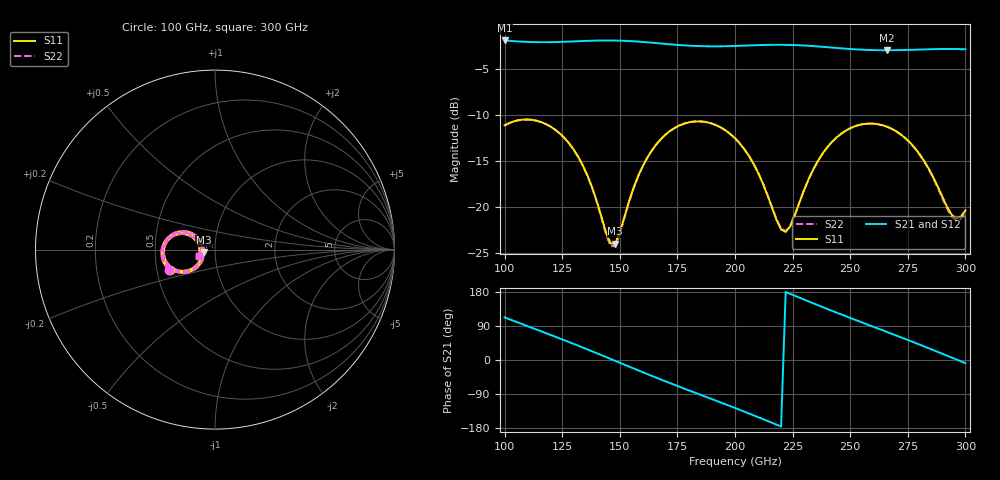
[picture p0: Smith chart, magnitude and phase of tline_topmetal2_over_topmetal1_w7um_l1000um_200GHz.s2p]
#  GHZ S DB R 50
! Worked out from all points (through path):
!   101 points, 100 GHz to 300 GHz, reference 50 ohm
!   highest |S21| = -1.85 dB at 100 GHz (marker M1); lowest = -2.9 dB at 266 GHz (marker M2)
!   group delay of S21, straight-line fit = 6.69 ps
!   lowest |S11| = -24.0 dB at 148 GHz (marker M3), VSWR 1.14, Z = 44.2 - j1.33 ohm
!   |S11| at or under -10 dB: start of sweep to end of sweep
!   |S22| runs from -24.3 to -10.5 dB; largest |S21 - S12| = 8.8e-14
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100  -11.10 -155.4  -1.85 112.5  -1.85 112.5  -11.10 -155.5
116  -10.75 173.9  -2.04 75.4  -2.04 75.4  -10.76 173.6
124  -11.99 159.4  -2.01 56.7  -2.01 56.7  -12.00 159.1
134  -15.48 145.3  -1.91 32.7  -1.91 32.7  -15.51 144.7
146  -23.97 174.9  -1.85 2.8  -1.85 2.8  -24.25 174.6
148  -23.98 -166.3  -1.86 -2.2  -1.86 -2.2  -24.26 -165.9
158  -16.60 -135.2  -1.97 -27.3  -1.97 -27.3  -16.65 -134.4
168  -12.55 -147.2  -2.19 -51.8  -2.19 -51.8  -12.56 -146.7
176  -11.09 -161.0  -2.35 -70.8  -2.35 -70.8  -11.10 -160.6
184  -10.66 -175.3  -2.46 -89.4  -2.46 -89.4  -10.66 -174.9
200  -12.51 157.6  -2.45 -126.6  -2.45 -126.6  -12.50 157.9
212  -17.37 147.2  -2.34 -155.6  -2.34 -155.6  -17.33 147.6
218  -21.39 160.5  -2.32 -170.5  -2.32 -170.5  -21.29 160.7
222  -22.71 -173.4  -2.33 179.5  -2.33 179.5  -22.60 -173.6
234  -15.88 -140.2  -2.47 149.5  -2.47 149.5  -15.88 -140.5
250  -11.41 -160.9  -2.78 111.0  -2.78 111.0  -11.42 -161.1
266  -11.24 172.7  -2.92 73.9  -2.92 73.9  -11.26 172.4
268  -11.47 169.5  -2.91 69.3  -2.91 69.3  -11.48 169.2
278  -13.54 155.7  -2.86 45.7  -2.86 45.7  -13.58 155.3
286  -16.73 151.7  -2.80 26.3  -2.80 26.3  -16.81 151.0
294  -20.82 170.5  -2.78 6.5  -2.78 6.5  -21.04 170.1
300  -20.35 -158.5  -2.81 -8.4  -2.81 -8.4  -20.55 -157.7
